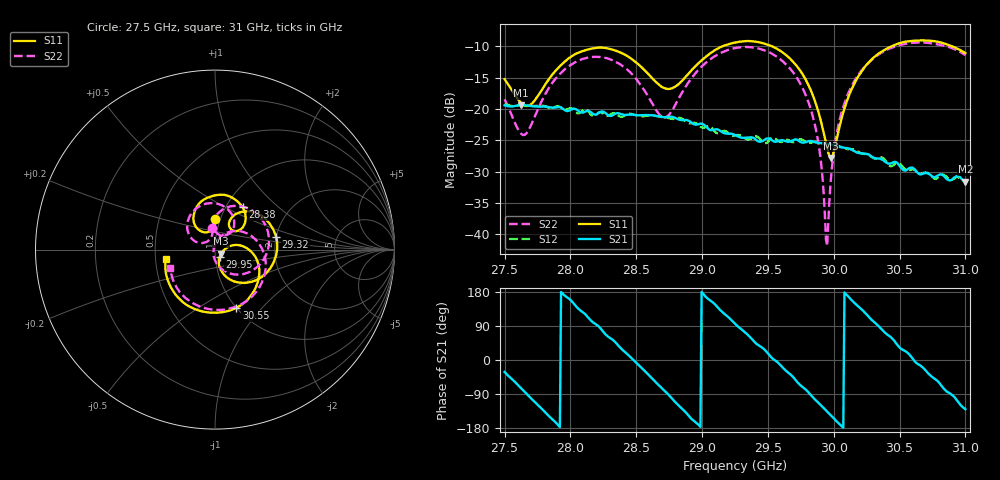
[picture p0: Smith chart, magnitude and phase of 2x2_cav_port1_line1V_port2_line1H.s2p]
!Created with skrf (http://scikit-rf.org).
# GHz S RI R 50.0
!freq ReS11 ImS11 ReS21 ImS21 ReS12 ImS12 ReS22 ImS22
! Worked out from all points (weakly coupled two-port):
!   401 points, 27.5 GHz to 31 GHz, reference 50 ohm
!   highest |S21| = -19.40 dB at 27.62 GHz (marker M1); lowest = -31.6 dB at 31 GHz (marker M2)
!   lowest |S11| = -27.8 dB at 29.98 GHz (marker M3), VSWR 1.08, Z = 53.4 - j2.43 ohm
!   |S11| at or under -10 dB: start of sweep to 29.15 GHz; 29.53 GHz to 30.44 GHz (907.9 MHz wide, 3.03 % of centre); 30.8986 GHz to end of sweep
!   |S22| runs from -41.9 to -9.4 dB; largest |S21 - S12| = 0.0064
!   S11 on the Smith chart (normalised r, x): 27.5 GHz: 0.94, +0.33; 28.38 GHz: 1.19, +0.61; 29.32 GHz: 1.99, +0.33; 29.95 GHz: 1.05, -0.09; 30.55 GHz: 1.00, -0.74; 31 GHz: 0.57, -0.06
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27.5  -0.00178 0.1727  0.091 -0.056  0.0929 -0.0556  -0.0171 0.1184
27.6225  -0.0173 0.1113  0.0303 -0.1028  0.0295 -0.1027  -0.03 0.0564
27.885  -0.1196 0.1612  -0.0985 -0.0288  -0.0998 -0.0296  -0.1478 0.0901
28.08625  -0.0549 0.2829  -0.0578 0.0736  -0.0618 0.073  -0.1144 0.2214
28.38375  0.1534 0.2356  0.0783 0.0465  0.0739 0.0447  0.0859 0.2079
28.6725  0.1173 0.1026  0.0338 -0.0801  0.035 -0.0798  0.047 0.0783
28.75125  0.0897 0.1133  -0.0058 -0.0864  -0.0072 -0.0838  0.0118 0.0897
28.92625  0.0974 0.1829  -0.0708 -0.0296  -0.0701 -0.0324  8.39e-05 0.1794
29.25  0.3104 0.1352  -0.00593 0.0616  -0.00804 0.061  0.2315 0.2003
29.32  0.3398 0.0723  0.0154 0.0567  0.0171 0.0563  0.2748 0.1473
29.635  0.2025 -0.1797  0.0488 -0.0259  0.0505 -0.0253  0.1909 -0.1254
29.83625  0.04 -0.1265  -0.00615 -0.0549  -0.00473 -0.0539  0.0176 -0.0894
29.88875  0.0228 -0.0876  -0.0223 -0.0485  -0.023 -0.0491  -0.0038 -0.0493
29.9325  0.0222 -0.0539  -0.0339 -0.0406  -0.0339 -0.0403  -0.0085 -0.0117
29.95  0.0255 -0.0412  -0.0379 -0.0363  -0.0377 -0.0364  -0.00721 0.00351
29.97625  0.0336 -0.0227  -0.0427 -0.0294  -0.0425 -0.0296  -0.00117 0.0259
30.02875  0.061 0.00709  -0.0481 -0.0136  -0.049 -0.0138  0.0232 0.0647
30.11625  0.126 0.0257  -0.0467 0.012  -0.0465 0.0113  0.093 0.1014
30.4225  0.2259 -0.2128  0.0165 0.0326  0.0172 0.0307  0.2817 -0.1117
30.55375  0.1188 -0.3244  0.0303 0.0117  0.0307 0.00997  0.2086 -0.2583
30.76375  -0.144 -0.3167  0.0188 -0.0215  0.0177 -0.0213  -0.0502 -0.328
31  -0.2735 -0.0526  -0.0169 -0.0201  -0.0165 -0.0208  -0.2488 -0.1037
